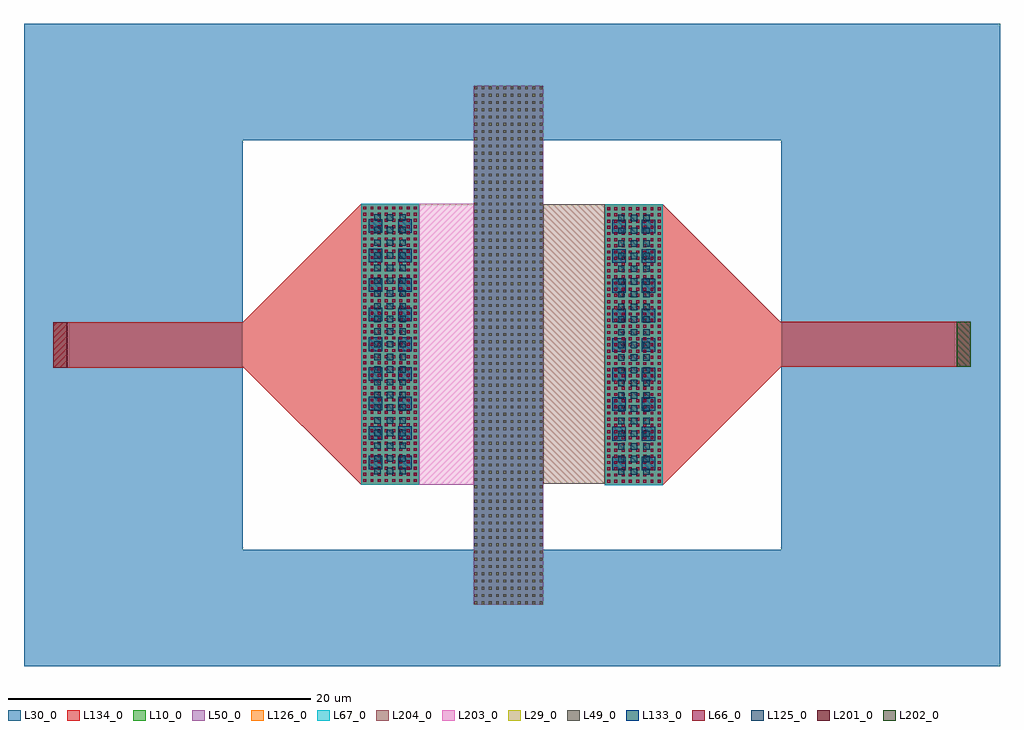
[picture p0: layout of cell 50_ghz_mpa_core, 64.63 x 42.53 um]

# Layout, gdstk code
import gdstk
lib = gdstk.Library(unit=1e-6, precision=1e-09)
def R(c, l, rs):  # rectangles x0, y0, x1, y1
    for r in rs: c.add(gdstk.rectangle(r[:2], r[2:], *l))
def A(c, l, x, y, w, h, nx, ny, dx, dy):  # array of equal rectangles
    R(c, l, [(x+i*dx, y+j*dy, x+i*dx+w, y+j*dy+h) for i in range(nx) for j in range(ny)])
def P(c, l, *ps):  # polygons
    for p in ps: c.add(gdstk.Polygon(p, *l))
L10_0 = (10, 0)
L29_0 = (29, 0)
L30_0 = (30, 0)
L49_0 = (49, 0)
L50_0 = (50, 0)
L66_0 = (66, 0)
L67_0 = (67, 0)
L125_0 = (125, 0)
L126_0 = (126, 0)
L133_0 = (133, 0)
L134_0 = (134, 0)
L201_0 = (201, 0)
L202_0 = (202, 0)
L203_0 = (203, 0)
L204_0 = (204, 0)

via_stack_1 = lib.new_cell('via_stack$1')
R(via_stack_1, L10_0, [(-2.305,-17.185,2.305,17.185)])
A(via_stack_1, L29_0, -2.255, -17.135, 0.19, 0.19, 10, 72, 0.48, 0.48)
R(via_stack_1, L30_0, [(-2.305,-17.185,2.305,17.185)])
A(via_stack_1, L49_0, -2.255, -17.135, 0.19, 0.19, 10, 72, 0.48, 0.48)
R(via_stack_1, L50_0, [(-2.305,-17.185,2.305,17.185)])

c_50_ghz_mpa_core = lib.new_cell('50_ghz_mpa_core')
R(c_50_ghz_mpa_core, L10_0, [(-19.205,-52.025,-15.345,-33.425), (-35.335,-51.98,-31.475,-33.38)])
A(c_50_ghz_mpa_core, L29_0, -19.04, -51.84, 0.19, 0.19, 8, 45, 0.48, 0.41)
A(c_50_ghz_mpa_core, L29_0, -35.19, -51.795, 0.19, 0.19, 8, 45, 0.48, 0.41)
R(c_50_ghz_mpa_core, L30_0, [(-57.655,-63.995,-55.705,-21.465), (-55.705,-63.995,-43.185,-21.465), (-43.185,-63.995,-7.495,-56.29), (-7.495,-63.995,5.025,-21.465), (5.025,-63.995,6.975,-21.465), (-19.205,-52.025,-15.345,-33.425), (-35.335,-51.98,-31.475,-33.38), (-43.185,-29.17,-7.495,-21.465)])
A(c_50_ghz_mpa_core, L49_0, -19.04, -51.84, 0.19, 0.19, 8, 45, 0.48, 0.41)
A(c_50_ghz_mpa_core, L49_0, -35.19, -51.795, 0.19, 0.19, 8, 45, 0.48, 0.41)
R(c_50_ghz_mpa_core, L50_0, [(-19.205,-52.025,-15.345,-33.425), (-35.335,-51.98,-31.475,-33.38)])
A(c_50_ghz_mpa_core, L66_0, -19.04, -51.84, 0.19, 0.19, 8, 45, 0.48, 0.41)
A(c_50_ghz_mpa_core, L66_0, -35.19, -51.795, 0.19, 0.19, 8, 45, 0.48, 0.41)
R(c_50_ghz_mpa_core, L67_0, [(-19.205,-52.025,-15.345,-33.425), (-35.335,-51.98,-31.475,-33.38)])
A(c_50_ghz_mpa_core, L125_0, -18.315, -51.335, 0.42, 0.42, 3, 21, 0.84, 0.84)
A(c_50_ghz_mpa_core, L125_0, -34.465, -51.29, 0.42, 0.42, 3, 21, 0.84, 0.84)
R(c_50_ghz_mpa_core, L126_0, [(-19.205,-52.025,-15.345,-33.425), (-35.335,-51.98,-31.475,-33.38)])
A(c_50_ghz_mpa_core, L133_0, -18.705, -51.015, 0.9, 0.9, 1, 9, 0, 1.96)
A(c_50_ghz_mpa_core, L133_0, -16.745, -51.015, 0.9, 0.9, 1, 9, 0, 1.96)
A(c_50_ghz_mpa_core, L133_0, -34.835, -50.97, 0.9, 0.9, 1, 9, 0, 1.96)
A(c_50_ghz_mpa_core, L133_0, -32.875, -50.97, 0.9, 0.9, 1, 9, 0, 1.96)
R(c_50_ghz_mpa_core, L134_0, [(-19.205,-52.025,-15.345,-33.425), (-35.335,-51.98,-31.475,-33.38), (-55.705,-44.23,-35.335,-41.23), (-15.345,-44.175,5.025,-41.175)])
P(c_50_ghz_mpa_core, L134_0, [(-43.185,-41.23),(-35.335,-33.38),(-35.335,-41.23)],
  [(-35.335,-51.98),(-43.09,-44.23),(-35.335,-44.23)],
  [(-15.345,-41.175),(-15.345,-33.425),(-7.59,-41.175)],
  [(-15.345,-52.025),(-15.345,-44.175),(-7.495,-44.175)])
R(c_50_ghz_mpa_core, L201_0, [(-55.705,-44.23,-54.785,-41.23)])
R(c_50_ghz_mpa_core, L202_0, [(4.105,-44.175,5.025,-41.175)])
R(c_50_ghz_mpa_core, L203_0, [(-31.475,-51.975,-27.885,-33.38)])
R(c_50_ghz_mpa_core, L204_0, [(-23.275,-51.925,-19.205,-33.425)])
c_50_ghz_mpa_core.add(gdstk.Reference(via_stack_1, (-25.58,-42.755)))

lib.write_gds('50_ghz_mpa_core.gds')
